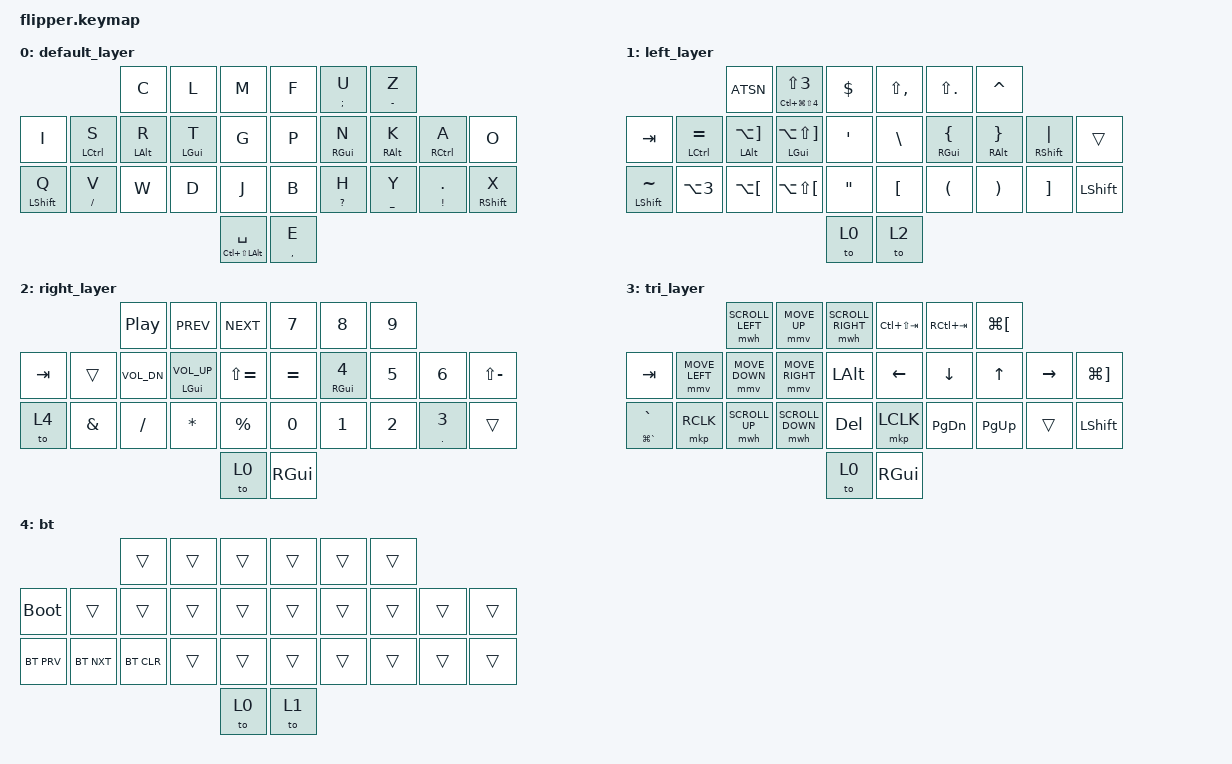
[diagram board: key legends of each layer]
/*
 * Copyright (c) 2020 The ZMK Contributors
 *
 * SPDX-License-Identifier: MIT
 */

#include <behaviors.dtsi>
#include <dt-bindings/zmk/keys.h>
#include <dt-bindings/zmk/bt.h>
#include <dt-bindings/zmk/mouse.h>


&mt {
    flavor = "tap-preferred";
    tapping_term_ms = <200>;
};


/ { 
    combos {
        compatible = "zmk,combos";
        combo_esc { 
            timeout-ms = <50>;
            key-positions = <17 18>;
            bindings = <&kp ESC>;
        };
        combo_bksc {
            timeout-ms = <50>;
            key-positions = <22 23>;
            bindings = <&kp BKSP>;
        };
        combo_ent {
            timeout-ms = <50>;
	    key-positions = <23 24>;
            bindings = <&kp RET>;
        };
        combo_1 {
            timeout-ms = <50>;
	    key-positions = <26 27>;
            bindings = <&to 1>;
        };
        combo_3 {
            timeout-ms = <50>;
	    key-positions = <4 5>;
            bindings = <&to 3>;
        };
    };

    behaviors {
        hm: homerow_mods {
            compatible = "zmk,behavior-hold-tap";
            label = "HOMEROW_MODS";
            #binding-cells = <2>;
            tapping-term-ms = <200>;
            quick_tap_ms = <0>;
            flavor = "tap-preferred";
            bindings = <&kp>, <&kp>;
        };
        hs: homerow_shifts {
            compatible = "zmk,behavior-hold-tap";
            label = "HOMEROW_SHIFTS";
            #binding-cells = <2>;
            tapping-term-ms = <150>;
            quick_tap_ms = <0>;
            flavor = "balanced";
            bindings = <&kp>, <&kp>;
        };
	td: tapdance {
            compatible = "zmk,behavior-hold-tap";
            label = "TAPDANCE";
            #binding-cells = <2>;
            tapping-term-ms = <150>;
            quick_tap_ms = <0>;
            flavor = "tap-preferred";
            bindings = <&kp>, <&kp>;
        };
	bl: layertap {
            compatible = "zmk,behavior-hold-tap";
            label = "LAYERTAP";
            #binding-cells = <2>;
            tapping-term-ms = <150>;
            quick_tap_ms = <0>;
            flavor = "tap-preferred";
            bindings = <&to>, <&kp>;
        };
    };

        keymap {
                compatible = "zmk,keymap";
                
       		default_layer {
		bindings = <
				&kp C 	   	&kp L 		&kp M							&kp F 		&td SEMI U    		&td MINUS Z 
		&kp I 		&hm LCTL S 	&hm LALT R	&hm LGUI T 	&kp G 			&kp P  		&hm RGUI N    	&hm RALT K    		&hm RCTL A 	&kp O
		&hs LSHIFT Q 	&td SLASH V 	&kp W 		&kp D 		&kp J   		&kp B 		&td QMARK H  	&td UNDERSCORE Y 	&td EXCL DOT 	&hs RSHIFT X
          									&mt LC(LS(LALT)) SPC 	&td COMMA E
		>;
		};

       		left_layer {
		bindings = <
					&kp ATSN   	&td LC(LG(LS(N4))) LS(N3) 	&kp DLLR    							&kp LS(COMMA) 	&kp LS(DOT) 	&kp CARET 
		&kp TAB    		&hm LCTL EQUAL  &hm LALT LA(RBKT)      		&hm LGUI LA(LS(RBKT))   	&kp SQT 	&kp BSLH 	&hm RGUI LBRC  	&hm RALT RBRC 	&hm RSHIFT PIPE &trans
		&hs LSHIFT TILDE	&kp LA(N3) 	&kp LA(LBKT)			&kp LA(LS(LBKT))  		&kp DQT 	&kp LBKT 	&kp LPRN 	&kp RPRN 	&kp RBKT  	&kp LSHIFT
															&to 0 		&to 2 
		>;
		};

		right_layer {
		bindings = <
			&kp C_PP 	&kp C_PREV  	&kp C_NEXT  								&kp N7 		&kp N8 	&kp N9 
		&kp TAB	&trans   	&kp C_VOL_DN	&hm LGUI C_VOL_UP	&kp LS(EQUAL) 			&kp EQUAL 	&hm RGUI N4	&kp N5 	&kp N6   	&kp LS(MINUS)
		&to 4  	&kp AMPS	&kp SLASH 	&kp STAR 		&kp PRCNT    			&kp N0 		&kp N1 		&kp N2 	&td DOT N3  	&trans 
					  					&to 0 				&kp RGUI
		>;
		};

		tri_layer {
		bindings = <
					&mwh SCROLL_LEFT	&mmv MOVE_UP    &mwh SCROLL_RIGHT    						&kp LC(LS(TAB))   	&kp RC(TAB)	&kp LG(LBKT) 
		&kp TAB			&mmv MOVE_LEFT 		&mmv MOVE_DOWN	&mmv MOVE_RIGHT 	&kp LALT 		&kp LEFT 	&kp DOWN  		&kp UP 		&kp RIGHT 	&kp LG(RBKT)
		&td LG(GRAVE) GRAVE 	&mkp RCLK  		&mwh SCROLL_UP	&mwh SCROLL_DOWN 	&kp DEL   		&mkp LCLK 	&kp PG_DN  		&kp PG_UP  	&trans		&kp LSHIFT 	   
								 					&to 0 			&kp RGUI 
		>;
		};
		bt {
		bindings = <
				&trans 		&trans 		&trans 			&trans 	&trans	&trans 
		&bootloader  	&trans 		&trans 		&trans 	&trans 	&trans 	&trans 	&trans 	&trans	&trans 
		&bt BT_PRV	&bt BT_NXT 	&bt BT_CLR 	&trans 	&trans 	&trans 	&trans  &trans  &trans 	&trans   
				 					&to 0 	&to 1 
		>;
		};
        
	};
};
